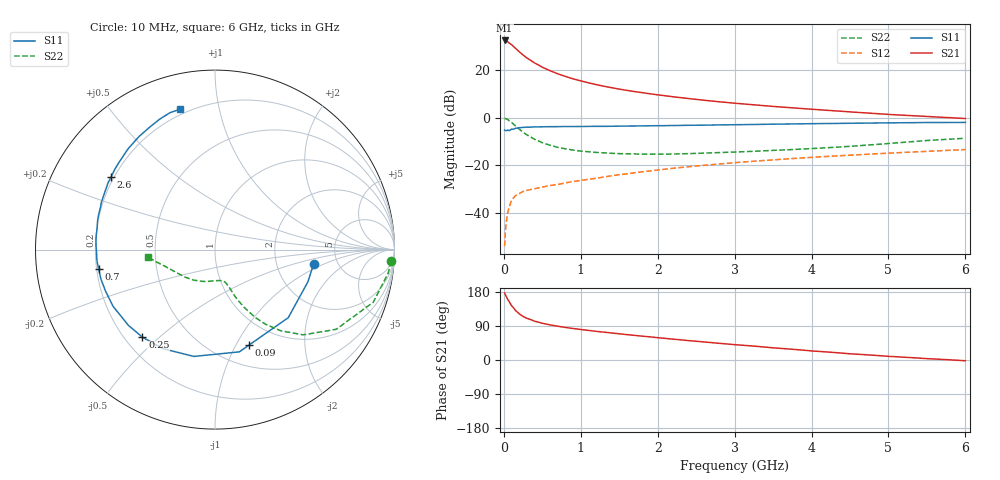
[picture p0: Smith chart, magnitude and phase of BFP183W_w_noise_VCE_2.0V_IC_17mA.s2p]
! Infineon Technologies  Discrete & RF Semiconductors
! BFP183W
! VCE =  2.0 V,  IC =  17 mA
! Common Emitter S-Parameters:  Jan 2017
# GHz  S  MA  R  50
!  f  S11  S21  S12  S22
! GHz  MAG  ANG  MAG  ANG  MAG  ANG  MAG  ANG
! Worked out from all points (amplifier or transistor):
!   77 points, 10 MHz to 6 GHz, reference 50 ohm
!   highest |S21| = 32.6 dB at 10 MHz (marker M1)
!   |S21| within 3 dB of that: start of sweep to 141 MHz
!   unconditionally stable (mu >= 1): 1.165 GHz to 3.861 GHz
!   at 130 MHz: K = 0.22, MSG = 31.7 dB, |S12| = -33.5 dB
!   at 2.2 GHz: K = 1.08, MAG = 13.4 dB, |S12| = -21.2 dB
!   at 6 GHz: K = 0.89, MSG = 6.5 dB, |S12| = -13.3 dB
!   lowest NFmin = 1.12 dB at 450 MHz
!   S11 on the Smith chart (normalised r, x): 10 MHz: 3.30, -0.77; 90 MHz: 0.73, -1.13; 250 MHz: 0.27, -0.44; 700 MHz: 0.21, -0.08; 2.6 GHz: 0.19, +0.31; 6 GHz: 0.17, +0.77
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0.01  0.5549 -8.4  42.89 176.7  0.002 86.2  0.9815 -3.7
0.02  0.548 -19.0  42.37 171.9  0.0041 83.4  0.9745 -7.6
0.05  0.5572 -42.9  40.3 160.1  0.0101 76.9  0.9294 -18.4
0.09  0.5646 -70.3  35.82 147.1  0.0166 63.2  0.8277 -30.0
0.1  0.5856 -76.6  35.03 143.4  0.0183 61.3  0.8083 -33.3
0.15  0.6068 -101.2  29.48 131.1  0.0231 53.1  0.6837 -44.0
0.2  0.6229 -117.5  24.8 121.9  0.0255 48.1  0.5821 -51.0
0.25  0.6338 -129.7  21.18 115.0  0.0284 44.6  0.5018 -55.9
0.3  0.6409 -138.7  18.32 109.9  0.03 41.9  0.4401 -59.3
0.4  0.65 -150.9  14.38 102.3  0.0324 42.4  0.3554 -63.5
0.5  0.6523 -159.2  11.73 97.0  0.035 42.7  0.3023 -66.0
0.6  0.6564 -165.4  9.895 92.7  0.0379 44.1  0.2665 -67.6
0.7  0.6574 -170.4  8.527 89.2  0.0397 45.8  0.2409 -68.4
0.9  0.66 -178.2  6.674 83.1  0.0457 49.1  0.2111 -70.4
1.1  0.6651 175.8  5.501 78.1  0.0511 51.1  0.1942 -72.0
1.5  0.674 166.0  4.056 69.2  0.064 53.9  0.1776 -77.6
2.1  0.6902 153.6  2.933 57.0  0.0837 54.9  0.1736 -90.2
2.6  0.7064 144.9  2.366 47.6  0.1007 54.1  0.182 -103.2
3.1  0.7245 136.8  1.985 39.0  0.1178 52.3  0.1946 -115.9
4.1  0.7616 122.6  1.49 22.6  0.1515 47.5  0.2315 -140.5
5.1  0.792 111.9  1.165 8.6  0.1849 41.7  0.2986 -162.5
6  0.8067 103.9  0.974 -2.0  0.2164 35.9  0.3744 -173.6
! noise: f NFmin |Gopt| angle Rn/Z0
0.45  1.12  0.17  164  -0.02
0.9  1.15  0.23  169  0.09
1.9  1.61  0.4  -165  0.08
2.4  1.84  0.44  -159  0.11
